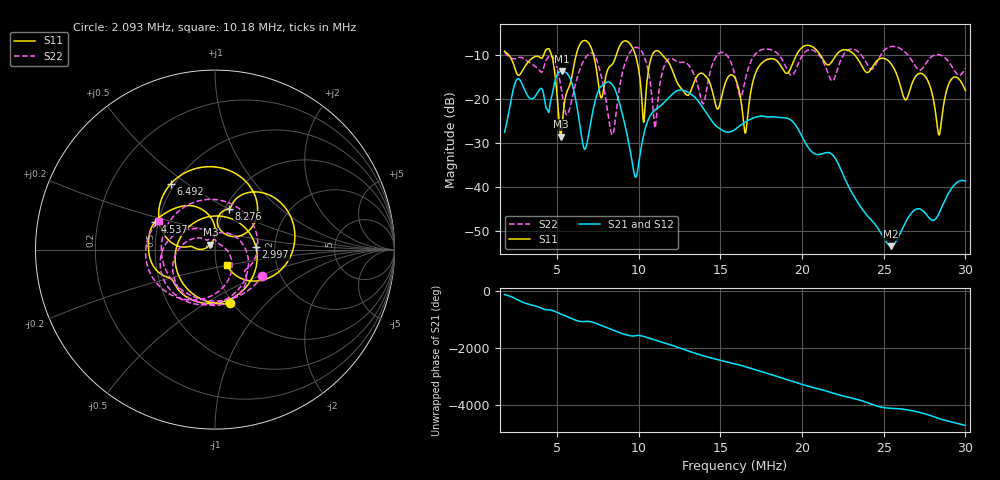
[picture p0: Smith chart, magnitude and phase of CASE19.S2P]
!Agilent Technologies,E5061B,MY49101568,A.02.00
!Date: Wed Mar 01 15:36:28 2023
!Data & Calibration Information:
!Freq	S11:SOLT2(OFF)	S21:SOLT2(OFF)	S12:SOLT2(OFF)	S22:SOLT2(OFF)
# Hz S dB R 50
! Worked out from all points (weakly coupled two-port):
!   1155 points, 1.8 MHz to 30 MHz, reference 50 ohm
!   highest |S21| = -13.65 dB at 5.319 MHz (marker M1); lowest = -53.3 dB at 25.43 MHz (marker M2)
!   lowest |S11| = -28.5 dB at 5.221 MHz (marker M3), VSWR 1.08, Z = 47.4 + j2.62 ohm
!   |S11| at or under -10 dB: 2.066 MHz to 4.185 MHz (2.119 MHz wide, 67.8 % of centre); 11.46 MHz to 19.65 MHz (8.192 MHz wide, 52.7 % of centre); 23.23 MHz to end of sweep (the widest 3 of 7)
!   |S22| runs from -28.1 to -8.0 dB; largest |S21 - S12| = 0.0025
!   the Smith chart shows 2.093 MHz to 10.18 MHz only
!   S11 on the Smith chart (normalised r, x): 2.093 MHz: 0.98, -0.65; 2.997 MHz: 1.59, +0.05; 4.537 MHz: 0.48, +0.17; 6.492 MHz: 0.48, +0.43; 8.276 MHz: 1.04, +0.50; 10.18 MHz: 1.13, -0.20
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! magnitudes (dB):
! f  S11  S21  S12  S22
! 1.8 MHz  -9.1  -27.5  -27.4  -9.4
! 2.093 MHz  -10.1  -22.3  -22.3  -10.4
! 2.997 MHz  -12.8  -17.6  -17.6  -10.9
! 4.537 MHz  -8.7  -22.3  -22.3  -10.1
! 5.221 MHz  -28.5  -13.7  -13.7  -16.6
! 5.319 MHz  -25.7  -13.6  -13.6  -18.8
! 6.492 MHz  -7.1  -27.9  -27.9  -12.4
! 6.516 MHz  -7.0  -28.5  -28.5  -12.2
! 7.372 MHz  -12.2  -20.0  -19.9  -10.5
! 8.276 MHz  -12.4  -16.3  -16.2  -26.9
! 9.424 MHz  -7.2  -30.4  -30.5  -9.6
! 10.18 MHz  -19.2  -30.5  -30.6  -9.1
! 11.21 MHz  -9.1  -21.9  -21.9  -19.3
! 11.92 MHz  -12.2  -19.4  -19.4  -10.7
! 15.9 MHz  -15.2  -26.9  -26.9  -14.7
! 16.54 MHz  -27.7  -25.1  -25.2  -15.5
! 17.44 MHz  -12.2  -23.9  -23.9  -8.9
! 20.62 MHz  -8.0  -32.0  -32.0  -8.8
! 25.31 MHz  -11.4  -53.1  -53.0  -8.2
! 25.43 MHz  -11.8  -53.3  -53.2  -8.0
! 28.39 MHz  -28.1  -45.9  -45.8  -9.9
! 30 MHz  -18.0  -38.6  -38.5  -13.0
